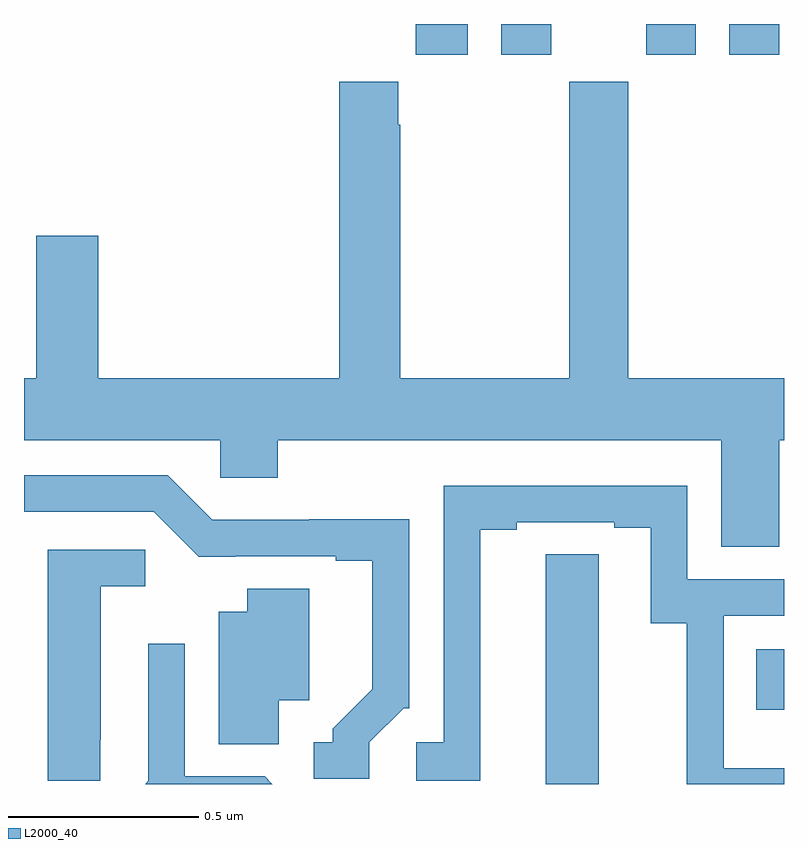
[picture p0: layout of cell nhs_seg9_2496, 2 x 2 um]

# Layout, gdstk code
import gdstk
lib = gdstk.Library(unit=1e-6, precision=1e-09)
def R(c, l, rs):  # rectangles x0, y0, x1, y1
    for r in rs: c.add(gdstk.rectangle(r[:2], r[2:], *l))
def P(c, l, *ps):  # polygons
    for p in ps: c.add(gdstk.Polygon(p, *l))
L2000_40 = (2000, 40)

nhs_seg9_2496 = lib.new_cell('nhs_seg9_2496')
R(nhs_seg9_2496, L2000_40, [(142.927,1211.696,143,1211.854), (142.031,1213.419,142.168,1213.5), (142.256,1213.419,142.387,1213.5), (142.637,1213.419,142.768,1213.5), (142.856,1213.419,142.987,1213.5)])
P(nhs_seg9_2496, L2000_40, [(142.988,1212.404),(143,1212.404),(143,1212.568),(142.59,1212.568),(142.59,1213.348),(142.435,1213.348),(142.435,1212.568),(141.99,1212.568),(141.99,1213.235),(141.985,1213.235),(141.985,1213.348),(141.83,1213.348),(141.83,1212.568),(141.196,1212.568),(141.196,1212.943),(141.032,1212.943),(141.032,1212.568),(141,1212.568),(141,1212.404),(141.516,1212.404),(141.516,1212.306),(141.668,1212.306),(141.668,1212.404),(142.835,1212.404),(142.835,1212.124),(142.988,1212.124)],
  [(141.909,1211.61),(141.999,1211.7),(142.014,1211.7),(142.014,1212.197),(141.751,1212.197),(141.751,1212.195),(141.495,1212.195),(141.378,1212.312),(141,1212.312),(141,1212.216),(141.342,1212.216),(141.46,1212.098),(141.556,1212.098),(141.556,1212.099),(141.821,1212.099),(141.821,1212.087),(141.917,1212.087),(141.917,1211.75),(141.812,1211.645),(141.812,1211.61),(141.762,1211.61),(141.762,1211.514),(141.909,1211.514)],
  [(143,1211.541),(142.844,1211.541),(142.844,1211.542),(142.842,1211.542),(142.842,1211.943),(143,1211.943),(143,1212.039),(142.746,1212.039),(142.746,1212.285),(142.104,1212.285),(142.104,1211.61),(142.032,1211.61),(142.032,1211.509),(142.201,1211.509),(142.201,1212.169),(142.297,1212.169),(142.297,1212.189),(142.553,1212.189),(142.553,1212.174),(142.649,1212.174),(142.649,1211.923),(142.744,1211.923),(142.744,1211.5),(143,1211.5)],
  [(141.201,1211.617),(141.202,1211.617),(141.202,1212.02),(141.319,1212.02),(141.319,1212.117),(141.062,1212.117),(141.062,1211.509),(141.201,1211.509)],
  [(142.513,1211.996),(142.512,1211.996),(142.512,1212.104),(142.373,1212.104),(142.373,1211.5),(142.513,1211.5)],
  [(141.67,1211.72),(141.751,1211.72),(141.751,1212.014),(141.587,1212.014),(141.587,1211.953),(141.512,1211.953),(141.512,1211.605),(141.67,1211.605)],
  [(141.633,1211.52),(141.423,1211.52),(141.423,1211.869),(141.327,1211.869),(141.327,1211.508),(141.319,1211.5),(141.653,1211.5)])

lib.write_gds('nhs_seg9_2496.gds')
